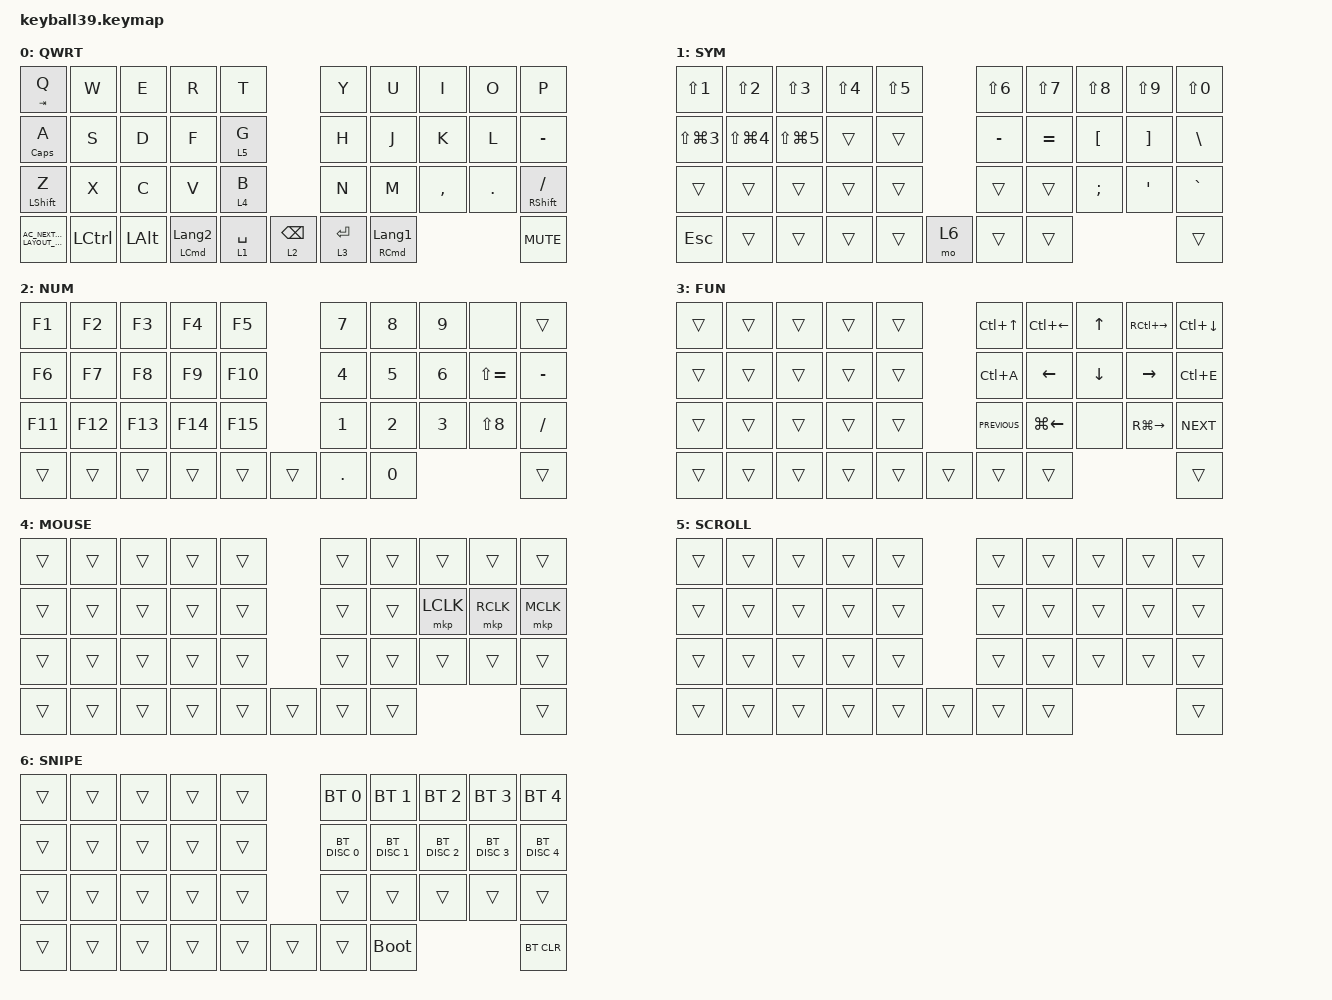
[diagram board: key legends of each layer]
#define DEFAULT 0
#define NUM     1
#define SYM     2
#define FUN     3
#define MOUSE   4
#define SCROLL  5
#define SNIPE   6

#include <behaviors/mouse_keys.dtsi>
#include <dt-bindings/zmk/mouse.h>
#include <behaviors.dtsi>
#include <dt-bindings/zmk/bt.h>
#include <dt-bindings/zmk/keys.h>
#include <dt-bindings/zmk/pointing.h>

&lt {
    tapping-term-ms = <240>;
    flavor = "balanced";
    quick-tap-ms = <150>;
};

&mt {
    tapping-term-ms = <200>;
    flavor = "tap-preferred";
    quick-tap-ms = <150>;
};

&caps_word { continue-list = <UNDERSCORE MINUS>; };

/ {
    // custom shift using mod-morph 

    behaviors {
        cmqus: comma_question {
            compatible = "zmk,behavior-mod-morph";
            label = "COMMA_QUESTION";
            #binding-cells = <0>;
            bindings = <&kp COMMA>, <&kp QUESTION>;

            mods = <(MOD_LSFT|MOD_RSFT)>;
        };

        dtsmi: dot_semi {
            compatible = "zmk,behavior-mod-morph";
            label = "DOT_SEMI";
            #binding-cells = <0>;
            bindings = <&kp DOT>, <&kp SEMI>;

            mods = <(MOD_LSFT|MOD_RSFT)>;
        };
    };

    macros {
        Hiragana: Hiragana {
            compatible = "zmk,behavior-macro";
            #binding-cells = <0>;
            bindings = <&kp LC(SPACE)>;
            label = "HIRAGANA";
        };
    };

    keymap {
        compatible = "zmk,keymap";

        default_layer {
            label = "QWRT";
            bindings = <
&mt TAB Q                             &kp W             &kp E     &kp R                        &kp T                                      &kp Y                         &kp U  &kp I      &kp O    &kp P
&mt CAPS A                            &kp S             &kp D     &kp F                        &lt 5 G                                    &kp H                         &kp J  &kp K      &kp L    &kp MINUS
&mt LEFT_SHIFT Z                      &kp X             &kp C     &kp V                        &lt 4 B                                    &kp N                         &kp M  &kp COMMA  &kp DOT  &mt RIGHT_SHIFT SLASH
&kp C_AC_NEXT_KEYBOARD_LAYOUT_SELECT  &kp LEFT_CONTROL  &kp LALT  &mt LEFT_COMMAND LANGUAGE_2  &lt 1 SPACE  &lt 2 BACKSPACE  &lt 3 ENTER  &mt RIGHT_COMMAND LANGUAGE_1                             &kp K_MUTE
            >;
        };

        symbol_layer {
            label = "SYM";
            bindings = <
&kp LS(NUMBER_1)      &kp LS(NUMBER_2)      &kp LS(NUMBER_3)      &kp LS(NUMBER_4)  &kp LS(NUMBER_5)                 &kp LS(NUMBER_6)  &kp LS(NUMBER_7)  &kp LS(NUMBER_8)  &kp LS(NUMBER_9)   &kp LS(NUMBER_0)
&kp LS(LG(NUMBER_3))  &kp LS(LG(NUMBER_4))  &kp LS(LG(NUMBER_5))  &trans            &trans                           &kp MINUS         &kp EQUAL         &kp LEFT_BRACKET  &kp RIGHT_BRACKET  &kp BACKSLASH
&trans                &trans                &trans                &trans            &trans                           &trans            &trans            &kp SEMICOLON     &kp SQT            &kp GRAVE
&kp ESCAPE            &trans                &trans                &trans            &trans            &mo 6  &trans  &trans                                                                   &trans
            >;
        };

        number_layer {
            label = "NUM";
            bindings = <
&kp F1   &kp F2   &kp F3   &kp F4   &kp F5                       &kp NUMBER_7  &kp NUMBER_8  &kp NUMBER_9  &none             &trans
&kp F6   &kp F7   &kp F8   &kp F9   &kp F10                      &kp NUMBER_4  &kp NUMBER_5  &kp NUMBER_6  &kp LS(EQUAL)     &kp MINUS
&kp F11  &kp F12  &kp F13  &kp F14  &kp F15                      &kp NUMBER_1  &kp NUMBER_2  &kp NUMBER_3  &kp LS(NUMBER_8)  &kp SLASH
&trans   &trans   &trans   &trans   &trans   &trans  &kp PERIOD  &kp NUMBER_0                                                &trans
            >;
        };

        function_layer {
            label = "FUN";
            bindings = <
&trans  &trans  &trans  &trans  &trans                  &kp LC(UP_ARROW)  &kp LC(LEFT_ARROW)  &kp UP_ARROW    &kp RC(RIGHT_ARROW)  &kp LC(DOWN_ARROW)
&trans  &trans  &trans  &trans  &trans                  &kp LC(A)         &kp LEFT_ARROW      &kp DOWN_ARROW  &kp RIGHT_ARROW      &kp LC(E)
&trans  &trans  &trans  &trans  &trans                  &kp C_PREVIOUS    &kp LG(LEFT_ARROW)  &none           &kp RG(RIGHT_ARROW)  &kp C_NEXT
&trans  &trans  &trans  &trans  &trans  &trans  &trans  &trans                                                                     &trans
            >;
        };

        mouse_layer {
            label = "MOUSE";
            bindings = <
&trans  &trans  &trans  &trans  &trans                  &trans  &trans  &trans     &trans     &trans
&trans  &trans  &trans  &trans  &trans                  &trans  &trans  &mkp LCLK  &mkp RCLK  &mkp MCLK
&trans  &trans  &trans  &trans  &trans                  &trans  &trans  &trans     &trans     &trans
&trans  &trans  &trans  &trans  &trans  &trans  &trans  &trans                                &trans
            >;
        };

        scroll_layer {
            label = "SCROLL";
            bindings = <
&trans  &trans  &trans  &trans  &trans                  &trans  &trans  &trans  &trans  &trans
&trans  &trans  &trans  &trans  &trans                  &trans  &trans  &trans  &trans  &trans
&trans  &trans  &trans  &trans  &trans                  &trans  &trans  &trans  &trans  &trans
&trans  &trans  &trans  &trans  &trans  &trans  &trans  &trans                          &trans
            >;
        };

        snipe_layer {
            label = "SNIPE";
            bindings = <
&trans  &trans  &trans  &trans  &trans                  &bt BT_SEL 0   &bt BT_SEL 1   &bt BT_SEL 2   &bt BT_SEL 3   &bt BT_SEL 4
&trans  &trans  &trans  &trans  &trans                  &bt BT_DISC 0  &bt BT_DISC 1  &bt BT_DISC 2  &bt BT_DISC 3  &bt BT_DISC 4
&trans  &trans  &trans  &trans  &trans                  &trans         &trans         &trans         &trans         &trans
&trans  &trans  &trans  &trans  &trans  &trans  &trans  &bootloader                                                 &bt BT_CLR
            >;
        };
    };
};
